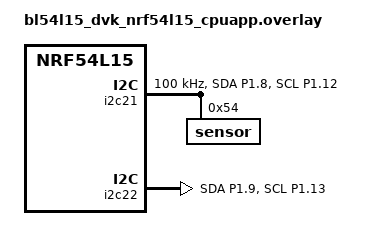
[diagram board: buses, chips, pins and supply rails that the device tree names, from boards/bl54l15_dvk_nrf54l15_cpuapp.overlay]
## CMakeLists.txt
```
# SPDX-License-Identifier: Apache-2.0

cmake_minimum_required(VERSION 3.28.0)

find_package(Zephyr REQUIRED HINTS $ENV{ZEPHYR_BASE})
project(i2c_slave)

FILE(GLOB app_sources src/*.c)

target_sources(app PRIVATE ${app_sources})
```

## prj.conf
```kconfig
CONFIG_I2C=y
CONFIG_ZTEST=y
CONFIG_NRFX_TWIS=y
```

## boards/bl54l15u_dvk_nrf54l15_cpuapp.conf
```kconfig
# Copyright 2024 Nordic Semiconductor ASA
# Copyright 2025 Ezurio LLC
# SPDX-License-Identifier: Apache-2.0

CONFIG_NRFX_TWIS22=y
```

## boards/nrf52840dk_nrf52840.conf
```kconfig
CONFIG_NRFX_TWIS1=y
```

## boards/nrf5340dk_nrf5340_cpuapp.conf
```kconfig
CONFIG_NRFX_TWIS2=y
```

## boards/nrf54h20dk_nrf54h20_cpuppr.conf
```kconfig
CONFIG_NRFX_TWIS131=y
```

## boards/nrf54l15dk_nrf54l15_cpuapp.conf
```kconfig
CONFIG_NRFX_TWIS22=y
```

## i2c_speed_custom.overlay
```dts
/*
 * Copyright 2025 Nordic Semiconductor ASA
 * SPDX-License-Identifier: Apache-2.0
 */

&dut_twim {
	clock-frequency = <300000>; /* 300 kHz */
};
```

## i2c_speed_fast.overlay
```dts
/*
 * Copyright 2025 Nordic Semiconductor ASA
 * SPDX-License-Identifier: Apache-2.0
 */

&dut_twim {
	clock-frequency = <I2C_BITRATE_FAST>;
};
```

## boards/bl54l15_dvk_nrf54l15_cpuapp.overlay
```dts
/*
 * Copyright 2024 Nordic Semiconductor ASA
 * Copyright 2025 Ezurio LLC
 * SPDX-License-Identifier: Apache-2.0
 */

/ {
	aliases {
		i2c-slave = &i2c22;
	};
};

&pinctrl {
	i2c21_default_alt: i2c21_default_alt {
		group1 {
			psels = <NRF_PSEL(TWIM_SDA, 1, 8)>,
				<NRF_PSEL(TWIM_SCL, 1, 12)>;
		};
	};

	i2c21_sleep_alt: i2c21_sleep_alt {
		group1 {
			psels = <NRF_PSEL(TWIM_SDA, 1, 8)>,
				<NRF_PSEL(TWIM_SCL, 1, 12)>;
			low-power-enable;
		};
	};

	i2c22_default_alt: i2c22_default_alt {
		group1 {
			psels = <NRF_PSEL(TWIS_SDA, 1, 9)>,
				<NRF_PSEL(TWIS_SCL, 1, 13)>;
			bias-pull-up;
		};
	};

	i2c22_sleep_alt: i2c22_sleep_alt {
		group1 {
			psels = <NRF_PSEL(TWIS_SDA, 1, 9)>,
				<NRF_PSEL(TWIS_SCL, 1, 13)>;
			low-power-enable;
		};
	};
};

dut_twim: &i2c21 {
	compatible = "nordic,nrf-twim";
	pinctrl-0 = <&i2c21_default_alt>;
	pinctrl-1 = <&i2c21_sleep_alt>;
	pinctrl-names = "default", "sleep";
	clock-frequency = <I2C_BITRATE_STANDARD>;
	status = "okay";

	sensor: sensor@54 {
		reg = <0x54>;
	};
};

&i2c22 {
	compatible = "nordic,nrf-twis";
	pinctrl-0 = <&i2c22_default_alt>;
	pinctrl-1 = <&i2c22_sleep_alt>;
	pinctrl-names = "default", "sleep";
	status = "okay";
};
```

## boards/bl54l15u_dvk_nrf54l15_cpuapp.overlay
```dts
/*
 * Copyright 2024 Nordic Semiconductor ASA
 * Copyright 2025 Ezurio LLC
 * SPDX-License-Identifier: Apache-2.0
 */

/ {
	aliases {
		i2c-slave = &i2c22;
	};
};

&pinctrl {
	i2c21_default_alt: i2c21_default_alt {
		group1 {
			psels = <NRF_PSEL(TWIM_SDA, 1, 8)>,
				<NRF_PSEL(TWIM_SCL, 1, 12)>;
		};
	};

	i2c21_sleep_alt: i2c21_sleep_alt {
		group1 {
			psels = <NRF_PSEL(TWIM_SDA, 1, 8)>,
				<NRF_PSEL(TWIM_SCL, 1, 12)>;
			low-power-enable;
		};
	};

	i2c22_default_alt: i2c22_default_alt {
		group1 {
			/* Temporary workaround as it is currently not possible
			 * to configure pins for TWIS with pinctrl.
			 */
			psels = <NRF_PSEL(TWIM_SDA, 1, 9)>,
				<NRF_PSEL(TWIM_SCL, 1, 13)>;
			bias-pull-up;
		};
	};

	i2c22_sleep_alt: i2c22_sleep_alt {
		group1 {
			psels = <NRF_PSEL(TWIM_SDA, 1, 9)>,
				<NRF_PSEL(TWIM_SCL, 1, 13)>;
			low-power-enable;
		};
	};
};

dut_twim: &i2c21 {
	compatible = "nordic,nrf-twim";
	status = "okay";
	pinctrl-0 = <&i2c21_default_alt>;
	pinctrl-1 = <&i2c21_sleep_alt>;
	pinctrl-names = "default", "sleep";
	clock-frequency = <I2C_BITRATE_STANDARD>;

	sensor: sensor@54 {
		reg = <0x54>;
	};
};

&i2c22 {
	compatible = "nordic,nrf-twis";
	status = "okay";
	pinctrl-0 = <&i2c22_default_alt>;
	pinctrl-1 = <&i2c22_sleep_alt>;
	pinctrl-names = "default", "sleep";
};
```

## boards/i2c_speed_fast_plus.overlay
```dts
/*
 * Copyright 2025 Nordic Semiconductor ASA
 * SPDX-License-Identifier: Apache-2.0
 */

&dut_twim {
	clock-frequency = <I2C_BITRATE_FAST_PLUS>;
};
```

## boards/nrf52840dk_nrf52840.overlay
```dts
/*
 * Copyright 2024 Nordic Semiconductor ASA
 * SPDX-License-Identifier: Apache-2.0
 */

#include "nrf52840dk_nrf52840_common.overlay"

dut_twim: &i2c0 {
	compatible = "nordic,nrf-twim";
};
```

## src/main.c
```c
/*
 * Copyright (c) 2024 Nordic Semiconductor ASA
 *
 * SPDX-License-Identifier: Apache-2.0
 */

#include <errno.h>
#include <string.h>

#include <zephyr/kernel.h>
#include <zephyr/linker/devicetree_regions.h>
#include <zephyr/device.h>
#include <zephyr/drivers/pinctrl.h>

#include <zephyr/drivers/i2c.h>
#include <nrfx_twis.h>

#include <zephyr/ztest.h>

#define NODE_SENSOR DT_NODELABEL(sensor)
#define NODE_TWIS   DT_ALIAS(i2c_slave)

#define TWIS_MEMORY_SECTION                                                                        \
	COND_CODE_1(DT_NODE_HAS_PROP(NODE_TWIS, memory_regions),                                   \
		    (__attribute__((__section__(                                                   \
			    LINKER_DT_NODE_REGION_NAME(DT_PHANDLE(NODE_TWIS, memory_regions)))))), \
		    ())

#define TEST_DATA_SIZE 6
static const uint8_t msg[TEST_DATA_SIZE] = "Nordic";
static nrfx_twis_t twis = {
	.p_reg = (NRF_TWIS_Type *)DT_REG_ADDR(NODE_TWIS)
};

static uint8_t i2c_slave_buffer[TEST_DATA_SIZE] TWIS_MEMORY_SECTION;
static uint8_t i2c_master_buffer[TEST_DATA_SIZE];
struct i2c_api_twis_fixture {
	const struct device *dev;
	uint8_t addr;
	uint8_t *const master_buffer;
	uint8_t *const slave_buffer;
};

void i2s_slave_handler(nrfx_twis_event_t const *p_event)
{
	switch (p_event->type) {
	case NRFX_TWIS_EVT_READ_REQ:
		nrfx_twis_tx_prepare(&twis, i2c_slave_buffer, TEST_DATA_SIZE);
		TC_PRINT("TWIS event: read request\n");
		break;
	case NRFX_TWIS_EVT_READ_DONE:
		TC_PRINT("TWIS event: read done\n");
		break;
	case NRFX_TWIS_EVT_WRITE_REQ:
		nrfx_twis_rx_prepare(&twis, i2c_slave_buffer, TEST_DATA_SIZE);
		TC_PRINT("TWIS event: write request\n");
		break;
	case NRFX_TWIS_EVT_WRITE_DONE:
		zassert_mem_equal(i2c_slave_buffer, msg, TEST_DATA_SIZE);
		TC_PRINT("TWIS event: write done\n");
		break;
	default:
		TC_PRINT("TWIS event: %d\n", p_event->type);
		break;
	}
}

static void *test_setup(void)
{
	static struct i2c_api_twis_fixture fixture = {
		.dev = DEVICE_DT_GET(DT_BUS(NODE_SENSOR)),
		.addr = DT_REG_ADDR(NODE_SENSOR),
		.master_buffer = i2c_master_buffer,
		.slave_buffer = i2c_slave_buffer,
	};
	const nrfx_twis_config_t config = {
		.addr = {fixture.addr, 0},
		.skip_gpio_cfg = true,
		.skip_psel_cfg = true,
	};
	int ret;

	zassert_equal(0, nrfx_twis_init(&twis, &config, i2s_slave_handler),
		      "TWIS initialization failed");

	PINCTRL_DT_DEFINE(NODE_TWIS);
	ret = pinctrl_apply_state(PINCTRL_DT_DEV_CONFIG_GET(NODE_TWIS), PINCTRL_STATE_DEFAULT);
	zassert_ok(ret);

	IRQ_CONNECT(DT_IRQN(NODE_TWIS), DT_IRQ(NODE_TWIS, priority),
		    nrfx_twis_irq_handler, &twis, 0);

	nrfx_twis_enable(&twis);

	return &fixture;
}

static void cleanup_buffers(void *argc)
{
	struct i2c_api_twis_fixture *fixture = (struct i2c_api_twis_fixture *)argc;

	memset(fixture->slave_buffer, 0, TEST_DATA_SIZE);
	memset(fixture->master_buffer, 0, TEST_DATA_SIZE);
}

ZTEST_USER_F(i2c_api_twis, test_i2c_read_write)
{
	int ret = i2c_write_read(fixture->dev, fixture->addr, msg, TEST_DATA_SIZE,
				 fixture->master_buffer, TEST_DATA_SIZE);

	zassert_ok(ret);
	zassert_mem_equal(fixture->master_buffer, msg, TEST_DATA_SIZE);
}

ZTEST_USER_F(i2c_api_twis, test_i2c_read)
{
	/* Prepare slave data */
	memcpy(fixture->slave_buffer, msg, TEST_DATA_SIZE);
	zassert_mem_equal(fixture->slave_buffer, msg, TEST_DATA_SIZE);

	int ret = i2c_read(fixture->dev, fixture->master_buffer, TEST_DATA_SIZE, fixture->addr);

	zassert_ok(ret);
	zassert_mem_equal(fixture->master_buffer, msg, TEST_DATA_SIZE);
}

ZTEST_USER_F(i2c_api_twis, test_i2c_write)
{
	int ret = i2c_write(fixture->dev, msg, TEST_DATA_SIZE, fixture->addr);

	zassert_ok(ret);
	zassert_mem_equal(fixture->slave_buffer, msg, TEST_DATA_SIZE);
}

ZTEST_SUITE(i2c_api_twis, NULL, test_setup, NULL, cleanup_buffers, NULL);
```
